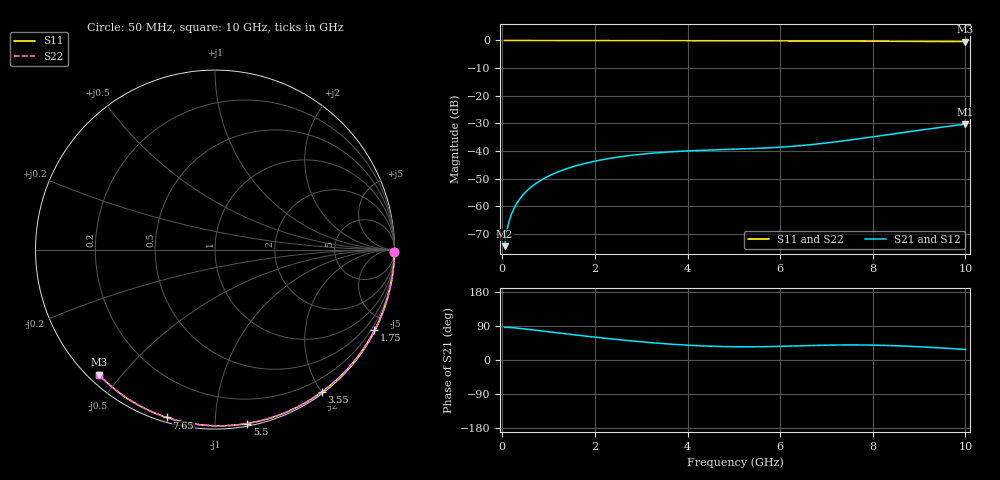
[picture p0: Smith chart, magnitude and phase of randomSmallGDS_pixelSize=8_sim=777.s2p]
! freq	dB(S11)	phase(S11)	dB(S12)	phase(S12)
!  dB(S21)	phase(S21)	dB(S22)	phase(S22)
!S-par simulation data
#  GHz  S  DB  R 50
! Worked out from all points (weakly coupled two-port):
!   200 points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, 50 MHz to 10 GHz, reference 50 ohm
!   highest |S21| = -30.28 dB at 10 GHz (marker M1); lowest = -74.4 dB at 50 MHz (marker M2)
!   lowest |S11| = -0.4 dB at 10 GHz (marker M3), VSWR 39.50, Z = 1.51 - j21.8 ohm
!   |S11| at or under -10 dB: nowhere
!   |S22| runs from -0.4 to 0.0 dB; largest |S21 - S12| = 0
!   S11 on the Smith chart (normalised r, x): 50 MHz: open; 1.75 GHz: 0.04, -4.19; 3.55 GHz: 0.02, -2.00; 5.5 GHz: 0.02, -1.20; 7.65 GHz: 0.02, -0.75; 10 GHz: 0.03, -0.44
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0.05  -0.00 -0.8  -74.45 86.0  -74.45 86.0  -0.00 -0.8
0.1  -0.00 -1.6  -68.70 86.0  -68.70 86.0  -0.00 -1.6
0.15  -0.00 -2.3  -65.26 85.9  -65.26 85.9  -0.00 -2.3
0.2  -0.00 -3.1  -62.80 85.5  -62.80 85.5  -0.00 -3.1
0.25  -0.00 -3.9  -60.89 85.0  -60.89 85.0  -0.00 -3.9
0.35  -0.00 -5.5  -57.99 83.8  -57.99 83.8  -0.00 -5.5
0.5  -0.01 -7.8  -54.93 81.7  -54.93 81.7  -0.01 -7.8
0.7  -0.01 -10.9  -52.06 78.9  -52.06 78.9  -0.01 -10.9
1  -0.02 -15.5  -49.07 74.5  -49.07 74.5  -0.02 -15.5
1.35  -0.03 -20.8  -46.64 69.4  -46.64 69.4  -0.03 -20.8
1.75  -0.03 -26.9  -44.65 63.7  -44.65 63.7  -0.03 -26.9
2.5  -0.05 -38.0  -42.21 53.8  -42.21 53.8  -0.05 -38.0
3.4  -0.07 -51.0  -40.58 44.0  -40.58 44.0  -0.07 -51.0
3.55  -0.07 -53.2  -40.40 42.6  -40.40 42.6  -0.07 -53.2
4.3  -0.09 -63.6  -39.76 37.3  -39.76 37.3  -0.09 -63.6
5.05  -0.11 -73.7  -39.33 34.9  -39.33 34.9  -0.11 -73.7
5.5  -0.13 -79.5  -39.05 35.0  -39.05 35.0  -0.13 -79.6
6.7  -0.18 -94.6  -37.65 38.3  -37.65 38.3  -0.18 -94.6
7.65  -0.24 -106.0  -35.70 39.8  -35.70 39.8  -0.24 -106.1
8.35  -0.29 -114.2  -34.04 38.2  -34.04 38.2  -0.29 -114.2
9.15  -0.35 -123.3  -32.16 34.0  -32.16 34.0  -0.35 -123.3
10  -0.44 -132.8  -30.28 27.8  -30.28 27.8  -0.44 -132.9
